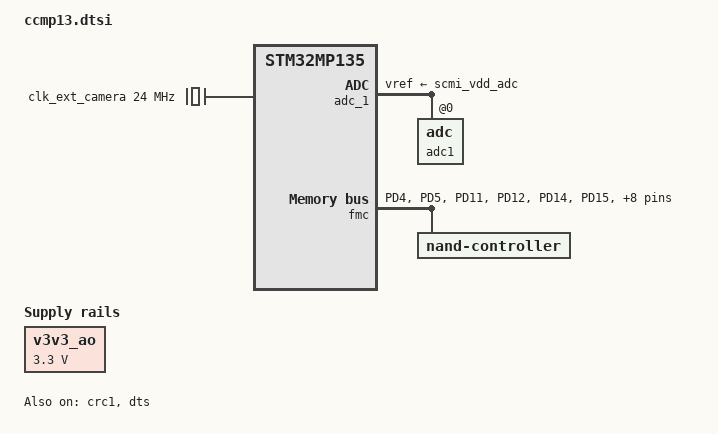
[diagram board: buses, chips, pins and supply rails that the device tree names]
// SPDX-License-Identifier: (GPL-2.0+ OR BSD-3-Clause)
/*
 * Copyright (C) 2022-2024 Digi International Inc - All Rights Reserved
 */

#include <dt-bindings/gpio/gpio.h>
#include <dt-bindings/input/input.h>
#include <dt-bindings/leds/common.h>
#include <dt-bindings/rtc/rtc-stm32.h>
#include "stm32mp135.dtsi"
#include "stm32mp13xf.dtsi"
#include "stm32mp13-pinctrl.dtsi"

/ {
	clocks {
		clk_ext_camera: clk-ext-camera {
			#clock-cells = <0>;
			compatible = "fixed-clock";
			clock-frequency = <24000000>;
		};

		clk_mco1: clk-mco1 {
			#clock-cells = <0>;
			compatible = "fixed-clock";
			clock-frequency = <24000000>;
		};
	};

	v3v3_ao: v3v3_ao {
		compatible = "regulator-fixed";
		regulator-name = "v3v3_ao";
		regulator-min-microvolt = <3300000>;
		regulator-max-microvolt = <3300000>;
		regulator-always-on;
	};

#if defined(CONFIG_FIT_SIGNATURE)
	signature {
	};
#endif

};

&adc_1 {
	pinctrl-names = "default";
	pinctrl-0 = <&adc1_usb_cc_pins_a>;
	vdda-supply = <&scmi_vdd_adc>;
	vref-supply = <&scmi_vdd_adc>;
	status = "okay";
	adc1: adc@0 {
		/*
		 * Type-C USB_PWR_CC1 & USB_PWR_CC2 on in6 & in12.
		 * Use at least 5 * RC time, e.g. 5 * (Rp + Rd) * C:
		 * 5 * (5.1 + 47kOhms) * 5pF => 1.3us.
		 * Use arbitrary margin here (e.g. 5us).
		 */
		st,min-sample-time-nsecs = <5000>;
		/* USB Type-C CC1 & CC2 */
		st,adc-channels = <6 12>;
		status = "okay";
	};
};

&crc1 {
	status = "okay";
};

&dma1 {
	sram = <&dma_pool>;
};

&dma2 {
	sram = <&dma_pool>;
};

&dts {
	status = "okay";
};

&fmc {
	pinctrl-names = "default", "sleep";
	pinctrl-0 = <&ccmp13_fmc_pins_a>;
	pinctrl-1 = <&ccmp13_fmc_sleep_pins_a>;
	status = "okay";

	nand-controller@4,0 {
		status = "okay";

		nand@0 {
			reg = <0>;
			nand-on-flash-bbt;
			#address-cells = <1>;
			#size-cells = <1>;
		};
	};
};

&sram {
	dma_pool: dma-sram@0 {
		reg = <0x0 0x4000>;
		pool;
	};
};

&pinctrl {
	ccmp13_fmc_pins_a: ccmp13_fmc-0 {
		pins1 {
			pinmux = <STM32_PINMUX('D', 4, AF12)>, /* FMC_NOE */
				 <STM32_PINMUX('D', 5, AF12)>, /* FMC_NWE */
				 <STM32_PINMUX('D', 11, AF12)>, /* FMC_CLE */
				 <STM32_PINMUX('D', 12, AF12)>, /* FMC_ALE */
				 <STM32_PINMUX('D', 14, AF12)>, /* FMC_D0 */
				 <STM32_PINMUX('D', 15, AF12)>, /* FMC_D1 */
				 <STM32_PINMUX('D', 0, AF12)>, /* FMC_D2 */
				 <STM32_PINMUX('D', 1, AF12)>, /* FMC_D3 */
				 <STM32_PINMUX('E', 7, AF12)>, /* FMC_D4 */
				 <STM32_PINMUX('E', 8, AF12)>, /* FMC_D5 */
				 <STM32_PINMUX('E', 9, AF12)>, /* FMC_D6 */
				 <STM32_PINMUX('E', 10, AF12)>, /* FMC_D7 */
				 <STM32_PINMUX('G', 9, AF12)>; /* FMC_NCE */
			bias-disable;
			drive-push-pull;
			slew-rate = <1>;
		};
		pins2 {
			pinmux = <STM32_PINMUX('A', 9, AF10)>; /* FMC_NWAIT */
			bias-pull-up;
		};
	};

	ccmp13_fmc_sleep_pins_a: ccmp13_fmc-sleep-0 {
		pins {
			pinmux = <STM32_PINMUX('D', 4, ANALOG)>, /* FMC_NOE */
				 <STM32_PINMUX('D', 5, ANALOG)>, /* FMC_NWE */
				 <STM32_PINMUX('D', 11, ANALOG)>, /* FMC_CLE */
				 <STM32_PINMUX('D', 12, ANALOG)>, /* FMC_ALE */
				 <STM32_PINMUX('D', 14, ANALOG)>, /* FMC_D0 */
				 <STM32_PINMUX('D', 15, ANALOG)>, /* FMC_D1 */
				 <STM32_PINMUX('D', 0, ANALOG)>, /* FMC_D2 */
				 <STM32_PINMUX('D', 1, ANALOG)>, /* FMC_D3 */
				 <STM32_PINMUX('E', 7, ANALOG)>, /* FMC_D4 */
				 <STM32_PINMUX('E', 8, ANALOG)>, /* FMC_D5 */
				 <STM32_PINMUX('E', 9, ANALOG)>, /* FMC_D6 */
				 <STM32_PINMUX('E', 10, ANALOG)>, /* FMC_D7 */
				 <STM32_PINMUX('A', 9, ANALOG)>, /* FMC_NWAIT */
				 <STM32_PINMUX('G', 9, ANALOG)>; /* FMC_NCE */
		};
	};
};
